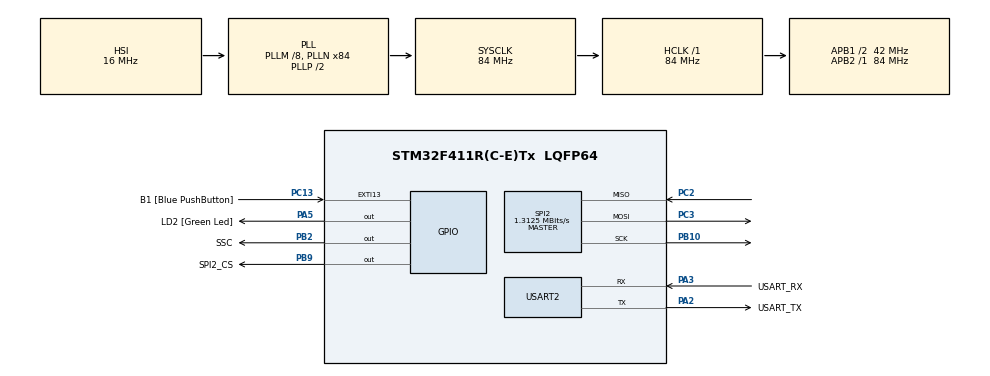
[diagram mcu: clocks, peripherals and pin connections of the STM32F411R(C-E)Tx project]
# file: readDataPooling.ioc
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Mcu.Family=STM32F4
Mcu.Name=STM32F411R(C-E)Tx
Mcu.Package=LQFP64
NVIC.PriorityGroup=NVIC_PRIORITYGROUP_0
NVIC.SPI2_IRQn=true\:0\:0\:false\:false\:true\:true\:true\:true
NVIC.USART2_IRQn=true\:0\:0\:false\:false\:true\:true\:true\:true
PA13.GPIO_Label=TMS
PA13.Mode=Serial_Wire
PA13.Signal=SYS_JTMS-SWDIO
PA14.GPIO_Label=TCK
PA14.Mode=Serial_Wire
PA14.Signal=SYS_JTCK-SWCLK
PA2.GPIO_Label=USART_TX
PA2.Mode=Asynchronous
PA2.Signal=USART2_TX
PA3.GPIO_Label=USART_RX
PA3.Mode=Asynchronous
PA3.Signal=USART2_RX
PA5.GPIO_Label=LD2 [Green Led]
PA5.Signal=GPIO_Output
PB10.Mode=Full_Duplex_Master
PB10.Signal=SPI2_SCK
PB2.GPIO_Label=SSC
PB2.Signal=GPIO_Output
PB3.GPIO_Label=SWO
PB3.Signal=SYS_JTDO-SWO
PB9.GPIO_Label=SPI2_CS
PB9.GPIO_PuPd=GPIO_PULLUP
PB9.GPIO_Speed=GPIO_SPEED_FREQ_HIGH
PB9.PinState=GPIO_PIN_SET
PB9.Signal=GPIO_Output
PC13-ANTI_TAMP.GPIO_Label=B1 [Blue PushButton]
PC13-ANTI_TAMP.GPIO_ModeDefaultEXTI=GPIO_MODE_IT_FALLING
PC13-ANTI_TAMP.Signal=GPXTI13
PC14-OSC32_IN.Mode=LSE-External-Oscillator
PC14-OSC32_IN.Signal=RCC_OSC32_IN
PC15-OSC32_OUT.Mode=LSE-External-Oscillator
PC15-OSC32_OUT.Signal=RCC_OSC32_OUT
PC2.Mode=Full_Duplex_Master
PC2.Signal=SPI2_MISO
PC3.Mode=Full_Duplex_Master
PC3.Signal=SPI2_MOSI
PH0\ -\ OSC_IN.Mode=HSE-External-Clock-Source
PH0\ -\ OSC_IN.Signal=RCC_OSC_IN
PH1\ -\ OSC_OUT.Mode=HSE-External-Clock-Source
PH1\ -\ OSC_OUT.Signal=RCC_OSC_OUT
ProjectManager.HeapSize=0x200
ProjectManager.StackSize=0x400
ProjectManager.TargetToolchain=STM32CubeIDE
RCC.48MHZClocksFreq_Value=42000000
RCC.AHBFreq_Value=84000000
RCC.APB1CLKDivider=RCC_HCLK_DIV2
RCC.APB1Freq_Value=42000000
RCC.APB1TimFreq_Value=84000000
RCC.APB2Freq_Value=84000000
RCC.APB2TimFreq_Value=84000000
RCC.CortexFreq_Value=84000000
RCC.FLatency-AdvancedSettings=FLASH_LATENCY_2
RCC.HCLKFreq_Value=84000000
RCC.HSE_VALUE=8000000
RCC.HSI_VALUE=16000000
RCC.PLLM=8
RCC.PLLN=84
RCC.SYSCLKFreq_VALUE=84000000
RCC.SYSCLKSource=RCC_SYSCLKSOURCE_PLLCLK
RCC.VCOOutputFreq_Value=168000000
SPI2.BaudRatePrescaler=SPI_BAUDRATEPRESCALER_32
SPI2.CLKPhase=SPI_PHASE_1EDGE
SPI2.CLKPolarity=SPI_POLARITY_LOW
SPI2.CalculateBaudRate=1.3125 MBits/s
SPI2.DataSize=SPI_DATASIZE_8BIT
SPI2.Direction=SPI_DIRECTION_2LINES
SPI2.Mode=SPI_MODE_MASTER
SPI2.VirtualType=VM_MASTER
USART2.VirtualMode=VM_ASYNC
board=NUCLEO-F411RE

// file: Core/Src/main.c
/* USER CODE BEGIN Header */
/**
  ******************************************************************************
  * @file           : main.c
  * @brief          : Main program body
  ******************************************************************************
  * @attention
  *
  * Copyright (c) 2023 STMicroelectronics.
  * All rights reserved.
  *
  * This software is licensed under terms that can be found in the LICENSE file
  * in the root directory of this software component.
  * If no LICENSE file comes with this software, it is provided AS-IS.
  *
  ******************************************************************************
  */
/* USER CODE END Header */
#include "main.h"

/* USER CODE BEGIN Includes */
#include "iis3dwb_reg.h"
#include <stdio.h>
#include <string.h>
/* USER CODE END Includes */

SPI_HandleTypeDef hspi2;

UART_HandleTypeDef huart2;

void SystemClock_Config(void);
static void MX_GPIO_Init(void);
static void MX_USART2_UART_Init(void);
static void MX_SPI2_Init(void);
/* USER CODE BEGIN PFP */
/** Please note that is MANDATORY: return 0 -> no Error.**/
static int32_t platform_write(void *handle, uint8_t reg, const uint8_t *bufp, uint16_t len);
static int32_t platform_read(void *handle, uint8_t reg, uint8_t *bufp, uint16_t len);
static void platform_delay(uint32_t ms);
//static void bytecpy(uint8_t *target, const uint8_t *source);
static void tx_com(uint8_t *tx_buffer, uint16_t len);
//void transmitSPIManual(stmdev_ctx_t *ctx, uint8_t where_is_reg, uint8_t *rev_val, uint8_t size_);
//void receiveSPIManual(stmdev_ctx_t *ctx, uint8_t where_is_reg, uint8_t *rev_val, uint8_t size_);

//void iis3dwb_fifo(void);
//stmdev_ctx_t dev_ctx;
/* USER CODE END PFP */

/* USER CODE BEGIN 0 */
#define BOOT_TIME         	10
#define FIFO_WATERMARK    	511
#define CTRL3_C_REG_SET 	0x44
//0xA8 Fill scale += 4G
#define CTRL1_XL_REG_SET	0xA8 //0xa8
#define FIFO_CTRL3_REG_SET	0xA

#define FIFO_MODE_REG_SET	0x06
#define FIFO_TIMESTEMP_REG_SET	0x02

int a = 0;
//volatile uint8_t flag_tx = 0;
//volatile uint8_t flag_rx = 0;
#define SENSOR_BUS hspi2

//static int16_t data_raw_acceleration[3];
//static int16_t data_raw_temperature;
//static float acceleration_mg[3];
//static float temperature_degC;
static uint8_t whoamI, rst;

//static uint8_t scale_CTRL1 = 0xA8; // Accelerometer full-scale selection +- 4G
//static uint8_t scale_return_CTRL1 = 0x11;

uint8_t scale_CTRL3 = 0x01; // Accelerometer full-scale selection +- 4G

uint8_t val_return1 = 0x11;

uint8_t Txflag = 0;
uint8_t Rxflag = 0;

iis3dwb_ctrl1_xl_t ctrl1_xl;
//static uint8_t keep_return = 0x30;

stmdev_ctx_t dev_ctx;
iis3dwb_fifo_status_t fifo_status;
static uint8_t tx_buffer[1000];
iis3dwb_fifo_out_raw_t fifo_data[FIFO_WATERMARK];
static int16_t *datax;
static int16_t *datay;
static int16_t *dataz;
static int32_t *ts;

uint8_t tx_set_cs = 0;

uint8_t tx_buf_rmt[ 2 ] = {0x00, 0x00};
uint8_t rx_buf_rmt[ 2 ] = {0x0, 0x00};
iis3dwb_ctrl3_c_t ctrl3_c;
uint8_t transmit_val = 0x11;
uint8_t receive_val = 0x22;

uint8_t val_return8 = 0x11;
uint16_t val_return16 = 0x11;

uint8_t buff[10];

iis3dwb_ctrl1_xl_t ctrl1_xl;
iis3dwb_ctrl3_c_t ctrl3_c;
iis3dwb_fifo_ctrl1_t fifo_ctrl1;
iis3dwb_fifo_ctrl2_t fifo_ctrl2;
iis3dwb_fifo_ctrl3_t fifo_ctrl3;
iis3dwb_fifo_ctrl4_t fifo_ctrl4;
iis3dwb_ctrl1_xl_t ctrl1_xl;
iis3dwb_ctrl10_c_t ctrl10_c;
iis3dwb_fifo_status2_t status;

uint8_t fifo_th = 0x00;
uint16_t fifo_level = 0x00;

uint8_t error_tracking = 0x00;

/* USER CODE END 0 */

int main(void)
{
  /* USER CODE BEGIN 1 */
//	stmdev_ctx_t dev_ctx;
  /* USER CODE END 1 */

  /* MCU Configuration--------------------------------------------------------*/

  /* Reset of all peripherals, Initializes the Flash interface and the Systick. */
	HAL_Init();

  /* Configure the system clock */
  SystemClock_Config();

  /* Initialize all configured peripherals */
  MX_GPIO_Init();
  MX_USART2_UART_Init();
  MX_SPI2_Init();
  /* USER CODE BEGIN 2 */
//  stmdev_ctx_t dev_ctx;
  dev_ctx.write_reg = platform_write;
  dev_ctx.read_reg = platform_read;
  dev_ctx.handle = &SENSOR_BUS;
//  dev_ctx.handle = &hspi2;
//  stmdev_ctx_t dev_ctx;

  /* Wait sensor boot time */
  platform_delay(BOOT_TIME);

//  /* Restore default configuration */
//  iis3dwb_reset_set(&dev_ctx, PROPERTY_ENABLE);
//  HAL_Delay(1000);
//
//  do {
//    iis3dwb_reset_get(&dev_ctx, &rst);
//    error_tracking += 1;
//  } while (rst);

//  error_tracking = 0 ;

  /* Check device ID */
  iis3dwb_device_id_get(&dev_ctx, &whoamI);

  while(whoamI != IIS3DWB_ID){
	  HAL_Delay(50);
	  error_tracking = 1;
  }error_tracking = 0;

  HAL_Delay(10);
  /* Enable Block Data Update */
  iis3dwb_block_data_update_set(&dev_ctx, CTRL3_C_REG_SET);
  iis3dwb_block_data_update_get(&dev_ctx, &val_return8);

  while(val_return8 != CTRL3_C_REG_SET){
	  HAL_Delay(50);
	  error_tracking = 2;
  }error_tracking = 0;

   /* Set full scale */
   iis3dwb_xl_full_scale_set(&dev_ctx, CTRL1_XL_REG_SET);
   iis3dwb_xl_full_scale_get(&dev_ctx, &val_return8);

   while(val_return8 != CTRL1_XL_REG_SET){
 	  HAL_Delay(50);
 	 error_tracking = 3;
   }error_tracking = 0;

   /*
    * Set FIFO watermark (number of unread sensor data TAG + 6 bytes
    * stored in FIFO) to FIFO_WATERMARK samples
    */
   iis3dwb_fifo_watermark_set(&dev_ctx, FIFO_WATERMARK);
   iis3dwb_fifo_watermark_get(&dev_ctx, &val_return16);

   while(val_return16 != FIFO_WATERMARK){
 	  HAL_Delay(50);
 	 error_tracking = 4;
   }error_tracking = 0;

   HAL_Delay(10);
   /* Set FIFO batch XL ODR to 12.5Hz */
   iis3dwb_fifo_xl_batch_set(&dev_ctx, FIFO_CTRL3_REG_SET);
   iis3dwb_fifo_xl_batch_get(&dev_ctx, &val_return8);

   while(val_return8 != FIFO_CTRL3_REG_SET){
 	  HAL_Delay(50);
 	 error_tracking = 5;
   }error_tracking = 0;

   /* Set FIFO mode to Stream mode (aka Continuous Mode) */
   iis3dwb_fifo_mode_set(&dev_ctx, FIFO_MODE_REG_SET);
   iis3dwb_fifo_mode_get(&dev_ctx, &val_return8);

   while(val_return8 != FIFO_MODE_REG_SET){
 	  HAL_Delay(50);
 	 error_tracking = 6;
   }error_tracking = 0;

   HAL_Delay(10);
   /* Set Output Data Rate */
//   iis3dwb_xl_data_rate_set(&dev_ctx, IIS3DWB_XL_ODR_26k7Hz);
   iis3dwb_fifo_timestamp_batch_set(&dev_ctx, FIFO_TIMESTEMP_REG_SET);
   iis3dwb_fifo_timestamp_batch_get(&dev_ctx, &val_return8);

   while(val_return8 != 0x80){
 	  HAL_Delay(50);
 	 error_tracking = 7;
   }error_tracking = 0;

   iis3dwb_timestamp_set(&dev_ctx, PROPERTY_ENABLE);
   iis3dwb_timestamp_get(&dev_ctx, &val_return8);

   while(val_return8 != 0x20){
 	  HAL_Delay(50);
 	 error_tracking = 8;
   }error_tracking = 0;

  /* USER CODE END 2 */

  /* Infinite loop */
  /* USER CODE BEGIN WHILE */
   /* Wait samples */
   while (1) {
     uint16_t num = 0, k;
     /* Read watermark flag */
     iis3dwb_fifo_status_get(&dev_ctx, buff, &val_return16);

//     HAL_Delay(100);
     a += 1;
//     if (fifo_status.fifo_th == 1) {
//       num = fifo_status.fifo_level;
//       sprintf((char *)tx_buffer, "-- FIFO num %d \r\n", num);
//       tx_com(tx_buffer, strlen((char const *)tx_buffer));
//
//       /* read out all FIFO entries in a single read */
//       iis3dwb_fifo_out_multi_raw_get(&dev_ctx, fifo_data, num);
//
//       for (k = 0; k < num; k++) {
//         iis3dwb_fifo_out_raw_t *f_data;
//
//         /* print out first two and last two FIFO entries only */
//         if (k > 1 && k < num - 2)
//           continue;
//
//         f_data = &fifo_data[k];
//
//         /* Read FIFO sensor value */
//         datax = (int16_t *)&f_data->data[0];
//         datay = (int16_t *)&f_data->data[2];
//         dataz = (int16_t *)&f_data->data[4];
//         ts = (int32_t *)&f_data->data[0];
//
//         switch (f_data->tag >> 3) {
//         case IIS3DWB_XL_TAG:
//           sprintf((char *)tx_buffer, "%d: ACC [mg]:\t%4.2f\t%4.2f\t%4.2f\r\n",
//                   k,
//                   iis3dwb_from_fs8g_to_mg(*datax),
//                   iis3dwb_from_fs8g_to_mg(*datay),
//                   iis3dwb_from_fs8g_to_mg(*dataz));
//           tx_com(tx_buffer, strlen((char const *)tx_buffer));
//           break;
//         case IIS3DWB_TIMESTAMP_TAG:
//           sprintf((char *)tx_buffer, "%d TIMESTAMP [ms] %d\r\n", k, *ts);
//           tx_com(tx_buffer, strlen((char const *)tx_buffer));
//           break;
//         default:
//           break;
//         }
//       }
//
//       sprintf((char *)tx_buffer, "------ \r\n\r\n");
//       tx_com(tx_buffer, strlen((char const *)tx_buffer));
//     }
   }
    /* USER CODE END WHILE */

}

void SystemClock_Config(void)
{
  RCC_OscInitTypeDef RCC_OscInitStruct = {0};
  RCC_ClkInitTypeDef RCC_ClkInitStruct = {0};

  /** Configure the main internal regulator output voltage
  */
  __HAL_RCC_PWR_CLK_ENABLE();
  __HAL_PWR_VOLTAGESCALING_CONFIG(PWR_REGULATOR_VOLTAGE_SCALE1);

  /** Initializes the RCC Oscillators according to the specified parameters
  * in the RCC_OscInitTypeDef structure.
  */
  RCC_OscInitStruct.OscillatorType = RCC_OSCILLATORTYPE_HSI;
  RCC_OscInitStruct.HSIState = RCC_HSI_ON;
  RCC_OscInitStruct.HSICalibrationValue = RCC_HSICALIBRATION_DEFAULT;
  RCC_OscInitStruct.PLL.PLLState = RCC_PLL_ON;
  RCC_OscInitStruct.PLL.PLLSource = RCC_PLLSOURCE_HSI;
  RCC_OscInitStruct.PLL.PLLM = 8;
  RCC_OscInitStruct.PLL.PLLN = 84;
  RCC_OscInitStruct.PLL.PLLP = RCC_PLLP_DIV2;
  RCC_OscInitStruct.PLL.PLLQ = 4;
  if (HAL_RCC_OscConfig(&RCC_OscInitStruct) != HAL_OK)
  {
    Error_Handler();
  }

  /** Initializes the CPU, AHB and APB buses clocks
  */
  RCC_ClkInitStruct.ClockType = RCC_CLOCKTYPE_HCLK|RCC_CLOCKTYPE_SYSCLK
                              |RCC_CLOCKTYPE_PCLK1|RCC_CLOCKTYPE_PCLK2;
  RCC_ClkInitStruct.SYSCLKSource = RCC_SYSCLKSOURCE_PLLCLK;
  RCC_ClkInitStruct.AHBCLKDivider = RCC_SYSCLK_DIV1;
  RCC_ClkInitStruct.APB1CLKDivider = RCC_HCLK_DIV2;
  RCC_ClkInitStruct.APB2CLKDivider = RCC_HCLK_DIV1;

  if (HAL_RCC_ClockConfig(&RCC_ClkInitStruct, FLASH_LATENCY_2) != HAL_OK)
  {
    Error_Handler();
  }
}

static void MX_SPI2_Init(void)
{

  /* SPI2 parameter configuration*/
  hspi2.Instance = SPI2;
  hspi2.Init.Mode = SPI_MODE_MASTER;
  hspi2.Init.Direction = SPI_DIRECTION_2LINES;
  hspi2.Init.DataSize = SPI_DATASIZE_8BIT;
  hspi2.Init.CLKPolarity = SPI_POLARITY_LOW;
  hspi2.Init.CLKPhase = SPI_PHASE_1EDGE;
  hspi2.Init.NSS = SPI_NSS_SOFT;
  hspi2.Init.BaudRatePrescaler = SPI_BAUDRATEPRESCALER_32;
  hspi2.Init.FirstBit = SPI_FIRSTBIT_MSB;
  hspi2.Init.TIMode = SPI_TIMODE_DISABLE;
  hspi2.Init.CRCCalculation = SPI_CRCCALCULATION_DISABLE;
  hspi2.Init.CRCPolynomial = 10;
  if (HAL_SPI_Init(&hspi2) != HAL_OK)
  {
    Error_Handler();
  }

}

static void MX_USART2_UART_Init(void)
{

  huart2.Instance = USART2;
  huart2.Init.BaudRate = 115200;
  huart2.Init.WordLength = UART_WORDLENGTH_8B;
  huart2.Init.StopBits = UART_STOPBITS_1;
  huart2.Init.Parity = UART_PARITY_NONE;
  huart2.Init.Mode = UART_MODE_TX_RX;
  huart2.Init.HwFlowCtl = UART_HWCONTROL_NONE;
  huart2.Init.OverSampling = UART_OVERSAMPLING_16;
  if (HAL_UART_Init(&huart2) != HAL_OK)
  {
    Error_Handler();
  }

}

static void MX_GPIO_Init(void)
{
  GPIO_InitTypeDef GPIO_InitStruct = {0};

  /* GPIO Ports Clock Enable */
  __HAL_RCC_GPIOC_CLK_ENABLE();
  __HAL_RCC_GPIOH_CLK_ENABLE();
  __HAL_RCC_GPIOA_CLK_ENABLE();
  __HAL_RCC_GPIOB_CLK_ENABLE();

  /*Configure GPIO pin Output Level */
  HAL_GPIO_WritePin(LD2_GPIO_Port, LD2_Pin, GPIO_PIN_RESET);

  /*Configure GPIO pin Output Level */
  HAL_GPIO_WritePin(SSC_GPIO_Port, SSC_Pin, GPIO_PIN_RESET);

  /*Configure GPIO pin Output Level */
  HAL_GPIO_WritePin(SPI2_CS_GPIO_Port, SPI2_CS_Pin, GPIO_PIN_SET);

  /*Configure GPIO pin : B1_Pin */
  GPIO_InitStruct.Pin = B1_Pin;
  GPIO_InitStruct.Mode = GPIO_MODE_IT_FALLING;
  GPIO_InitStruct.Pull = GPIO_NOPULL;
  HAL_GPIO_Init(B1_GPIO_Port, &GPIO_InitStruct);

  /*Configure GPIO pin : LD2_Pin */
  GPIO_InitStruct.Pin = LD2_Pin;
  GPIO_InitStruct.Mode = GPIO_MODE_OUTPUT_PP;
  GPIO_InitStruct.Pull = GPIO_NOPULL;
  GPIO_InitStruct.Speed = GPIO_SPEED_FREQ_LOW;
  HAL_GPIO_Init(LD2_GPIO_Port, &GPIO_InitStruct);

  /*Configure GPIO pin : SSC_Pin */
  GPIO_InitStruct.Pin = SSC_Pin;
  GPIO_InitStruct.Mode = GPIO_MODE_OUTPUT_PP;
  GPIO_InitStruct.Pull = GPIO_NOPULL;
  GPIO_InitStruct.Speed = GPIO_SPEED_FREQ_LOW;
  HAL_GPIO_Init(SSC_GPIO_Port, &GPIO_InitStruct);

  /*Configure GPIO pin : SPI2_CS_Pin */
  GPIO_InitStruct.Pin = SPI2_CS_Pin;
  GPIO_InitStruct.Mode = GPIO_MODE_OUTPUT_PP;
  GPIO_InitStruct.Pull = GPIO_PULLUP;
  GPIO_InitStruct.Speed = GPIO_SPEED_FREQ_HIGH;
  HAL_GPIO_Init(SPI2_CS_GPIO_Port, &GPIO_InitStruct);

}

/* USER CODE BEGIN 4 */
/*
 * @brief  Write generic device register (platform dependent)
 *
 * @param  handle    customizable argument. In this examples is used in
 *                   order to select the correct sensor bus handler.
 * @param  reg       register to write
 * @param  bufp      pointer to data to write in register reg
 * @param  len       number of consecutive register to write
 *
 */
static int32_t platform_write(void *handle, uint8_t reg, const uint8_t *bufp, uint16_t len)
{
	  tx_buf_rmt[ 0 ] = reg;
	  tx_buf_rmt[ 1 ] = *bufp;
	  tx_set_cs = 1;

	  HAL_GPIO_WritePin(SPI2_CS_GPIO_Port, SPI2_CS_Pin, RESET);
	  HAL_SPI_Transmit_IT(handle, &tx_buf_rmt[0], 2);

	  HAL_SPI_Transmit_IT(handle, (uint8_t*) bufp, len);

	  return 0;
}
/*
 * @brief  Read generic device register (platform dependent)
 *
 * @param  handle    customizable argument. In this examples is used in
 *                   order to select the correct sensor bus handler.
 * @param  reg       register to read
 * @param  bufp      pointer to buffer that store the data read
 * @param  len       number of consecutive register to read
 *
 */
static int32_t platform_read(void *handle, uint8_t reg, uint8_t *bufp, uint16_t len)
{
	  tx_buf_rmt[ 0 ] = reg;
	  tx_buf_rmt[ 0 ] |= 0x80;
	  tx_buf_rmt[ 1 ] = 0x00;
//	  reg |= 0x80;

	  Txflag = 2;
	  Rxflag = 2;

	  HAL_GPIO_WritePin(SPI2_CS_GPIO_Port, SPI2_CS_Pin, GPIO_PIN_RESET);
	  HAL_SPI_Transmit_IT(handle, &tx_buf_rmt[0], 2);
	  HAL_SPI_Receive_IT(handle, bufp, len);

	  HAL_GPIO_TogglePin(LD2_GPIO_Port, LD2_Pin);
	  return 0;
}
/*
 * @brief  platform specific delay (platform dependent)
 *
 * @param  ms        delay in ms
 *
 */
static void platform_delay(uint32_t ms)
{
  HAL_Delay(ms);
}
/*
 * @brief  Send buffer to console (platform dependent)
 *
 * @param  tx_buffer     buffer to transmit
 * @param  len           number of byte to send
 *
 */
static void tx_com(uint8_t *tx_buffer, uint16_t len)
{
//	HAL_UART_Transmit(&huart2, tx_buffer, sizeof(tx_buffer), len);
	HAL_UART_Transmit(&huart2, tx_buffer, len, 1000);
}

void HAL_SPI_TxCpltCallback(SPI_HandleTypeDef *hspi)
{

	if(hspi->Instance == hspi2.Instance)
		 {
			if(tx_set_cs){
				HAL_GPIO_WritePin(SPI2_CS_GPIO_Port, SPI2_CS_Pin, GPIO_PIN_SET);
				tx_set_cs = 0;
			}
			Txflag = 1;
		 }
}

void HAL_SPI_RxCpltCallback(SPI_HandleTypeDef *hspi)
{

	if(hspi->Instance == hspi2.Instance)
	 {
		HAL_GPIO_WritePin(SPI2_CS_GPIO_Port, SPI2_CS_Pin, GPIO_PIN_SET);
		Rxflag = 1;
	 }
}

//static void bytecpy(uint8_t *target, const uint8_t *source)
//{
//  if ((target != NULL) && (source != NULL))
//  {
//    *target = *source;
//  }
//}

/* USER CODE END 4 */

void Error_Handler(void)
{
  __disable_irq();
  while (1)
  {
  }
}
